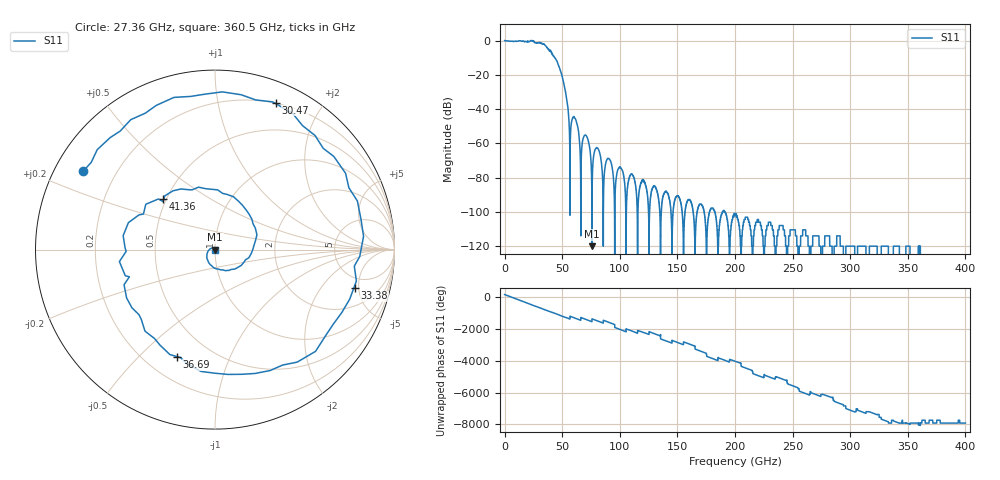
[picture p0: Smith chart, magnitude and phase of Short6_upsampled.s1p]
# MHz MA S R 50.0
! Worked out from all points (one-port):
!   40000 points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, 10 MHz to 400 GHz, reference 50 ohm
!   lowest |S11| = -120.0 dB at 75.84 GHz (marker M1), VSWR 1.00, Z = 50 - j0.0001 ohm
!   |S11| at or under -10 dB: 43.41 GHz to end of sweep
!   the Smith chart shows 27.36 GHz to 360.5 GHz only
!   S11 on the Smith chart (normalised r, x): 27.36 GHz: 0.08, +0.27; 30.47 GHz: 0.19, +1.48; 33.38 GHz: 3.64, -4.53; 36.69 GHz: 0.33, -0.65; 41.36 GHz: 0.48, +0.33; 360.5 GHz: 1.00, +0.00
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10  1.004 179.7
3440  0.9788 85.5
6520  0.9565 2.1
9770  0.9726 -87.3
12760  0.9896 -168.6
16220  0.9659 93.9
19600  0.931 2.9
23140  0.9953 -96.3
27360  0.8541 149.2
30470  0.8858 67.6
33380  0.8086 -15.5
36690  0.6335 -109.5
41360  0.4043 135.4
50010  0.08882 -105.8
56820  0.000344 -107.8
61440  0.005212 125.3
66460  0.000301 166.3
71200  0.001613 34.8
75840  1e-06 -91.8
80240  0.000744 -32.2
100010  0.000204 143.1
150010  2.9e-05 43.2
200010  9e-06 -63.7
250010  3e-06 -169.6
300010  1e-06 90.8
350010  1e-06 -27.0
360510  0 -137.6
400000  0 -180.0
